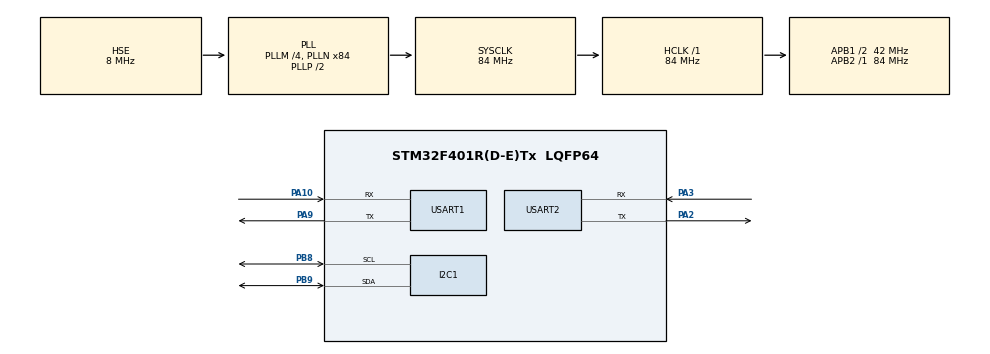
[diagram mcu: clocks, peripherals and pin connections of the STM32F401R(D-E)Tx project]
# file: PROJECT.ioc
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Mcu.Family=STM32F4
Mcu.Name=STM32F401R(D-E)Tx
Mcu.Package=LQFP64
NVIC.PriorityGroup=NVIC_PRIORITYGROUP_4
PA10.Mode=Asynchronous
PA10.Signal=USART1_RX
PA13.Mode=Serial_Wire
PA13.Signal=SYS_JTMS-SWDIO
PA14.Mode=Serial_Wire
PA14.Signal=SYS_JTCK-SWCLK
PA2.Mode=Asynchronous
PA2.Signal=USART2_TX
PA3.Mode=Asynchronous
PA3.Signal=USART2_RX
PA9.Mode=Asynchronous
PA9.Signal=USART1_TX
PB8.Mode=I2C
PB8.Signal=I2C1_SCL
PB9.Mode=I2C
PB9.Signal=I2C1_SDA
PH0\ -\ OSC_IN.Mode=HSE-External-Clock-Source
PH0\ -\ OSC_IN.Signal=RCC_OSC_IN
PH1\ -\ OSC_OUT.Mode=HSE-External-Clock-Source
PH1\ -\ OSC_OUT.Signal=RCC_OSC_OUT
ProjectManager.HeapSize=0x200
ProjectManager.StackSize=0x400
ProjectManager.TargetToolchain=MDK-ARM V5.32
RCC.48MHZClocksFreq_Value=42000000
RCC.AHBFreq_Value=84000000
RCC.APB1CLKDivider=RCC_HCLK_DIV2
RCC.APB1Freq_Value=42000000
RCC.APB1TimFreq_Value=84000000
RCC.APB2Freq_Value=84000000
RCC.APB2TimFreq_Value=84000000
RCC.CortexFreq_Value=84000000
RCC.HCLKFreq_Value=84000000
RCC.HSE_VALUE=8000000
RCC.HSI_VALUE=16000000
RCC.LSE_VALUE=32768
RCC.PLLM=4
RCC.PLLN=84
RCC.PLLSourceVirtual=RCC_PLLSOURCE_HSE
RCC.SYSCLKFreq_VALUE=84000000
RCC.SYSCLKSource=RCC_SYSCLKSOURCE_PLLCLK
RCC.VCOOutputFreq_Value=168000000
USART1.VirtualMode=VM_ASYNC
USART2.VirtualMode=VM_ASYNC
board=custom

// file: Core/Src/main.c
/* USER CODE BEGIN Header */
/**
  ******************************************************************************
  * @file           : main.c
  * @brief          : BME280 Sensor + USART1 Wemos + USART2 Debug
  ******************************************************************************
  */
/* USER CODE END Header */

#include "main.h"

/* USER CODE BEGIN Includes */
#include "bme280.h"
#include <stdio.h>
#include <string.h>
/* USER CODE END Includes */

I2C_HandleTypeDef hi2c1;
UART_HandleTypeDef huart1;
UART_HandleTypeDef huart2;

/* USER CODE BEGIN PV */

struct bme280_dev bme;
struct bme280_settings bme_settings;
struct bme280_data comp_data;

static uint8_t bme_i2c_addr = BME280_I2C_ADDR_PRIM;

int8_t bme_status;

double temperature;
double pressure;
double humidity;

char uart_buffer[150];

/* USER CODE END PV */

void SystemClock_Config(void);
static void MX_GPIO_Init(void);
static void MX_I2C1_Init(void);
static void MX_USART1_UART_Init(void);
static void MX_USART2_UART_Init(void);

/* USER CODE BEGIN PFP */

int8_t user_i2c_read(uint8_t reg_addr,
                     uint8_t *reg_data,
                     uint32_t len,
                     void *intf_ptr);

int8_t user_i2c_write(uint8_t reg_addr,
                      const uint8_t *reg_data,
                      uint32_t len,
                      void *intf_ptr);

void user_delay_us(uint32_t period, void *intf_ptr);

/* USER CODE END PFP */

/* USER CODE BEGIN 0 */

int8_t user_i2c_read(uint8_t reg_addr,
                     uint8_t *reg_data,
                     uint32_t len,
                     void *intf_ptr)
{
    uint8_t dev_addr = *(uint8_t *)intf_ptr;

    if (HAL_I2C_Mem_Read(&hi2c1,
                         (uint16_t)(dev_addr << 1),
                         reg_addr,
                         I2C_MEMADD_SIZE_8BIT,
                         reg_data,
                         (uint16_t)len,
                         HAL_MAX_DELAY) == HAL_OK)
    {
        return BME280_OK;
    }

    return BME280_E_COMM_FAIL;
}

int8_t user_i2c_write(uint8_t reg_addr,
                      const uint8_t *reg_data,
                      uint32_t len,
                      void *intf_ptr)
{
    uint8_t dev_addr = *(uint8_t *)intf_ptr;

    if (HAL_I2C_Mem_Write(&hi2c1,
                          (uint16_t)(dev_addr << 1),
                          reg_addr,
                          I2C_MEMADD_SIZE_8BIT,
                          (uint8_t *)reg_data,
                          (uint16_t)len,
                          HAL_MAX_DELAY) == HAL_OK)
    {
        return BME280_OK;
    }

    return BME280_E_COMM_FAIL;
}

void user_delay_us(uint32_t period, void *intf_ptr)
{
    HAL_Delay((period + 999U) / 1000U);
}

/* Send the same message to both serial ports */
void send_uart_message(char *message, uint16_t length)
{
    HAL_UART_Transmit(&huart2,
                      (uint8_t *)message,
                      length,
                      HAL_MAX_DELAY);

    HAL_UART_Transmit(&huart1,
                      (uint8_t *)message,
                      length,
                      HAL_MAX_DELAY);
}

/* USER CODE END 0 */

int main(void)
{
    HAL_Init();

    SystemClock_Config();

    /* Initialize all configured peripherals */
    MX_GPIO_Init();
    MX_I2C1_Init();
    MX_USART1_UART_Init();
    MX_USART2_UART_Init();

    /* USER CODE BEGIN 2 */

    /* Configure BME280 I2C communication */
    bme.intf_ptr = &bme_i2c_addr;
    bme.intf = BME280_I2C_INTF;
    bme.read = user_i2c_read;
    bme.write = user_i2c_write;
    bme.delay_us = user_delay_us;

    /* Initialize BME280 sensor */
    bme_status = bme280_init(&bme);

    if (bme_status != BME280_OK)
    {
        int len = snprintf(uart_buffer,
                           sizeof(uart_buffer),
                           "BME280 initialization failed: %d\r\n",
                           (int)bme_status);

        send_uart_message(uart_buffer, (uint16_t)len);

        while (1)
        {
        }
    }

    /* Configure sensor oversampling settings */
    bme_settings.osr_h = BME280_OVERSAMPLING_1X;
    bme_settings.osr_p = BME280_OVERSAMPLING_1X;
    bme_settings.osr_t = BME280_OVERSAMPLING_1X;

    bme_settings.filter = BME280_FILTER_COEFF_OFF;
    bme_settings.standby_time = BME280_STANDBY_TIME_1000_MS;

    bme_status = bme280_set_sensor_settings(
                    BME280_SEL_OSR_PRESS |
                    BME280_SEL_OSR_TEMP |
                    BME280_SEL_OSR_HUM |
                    BME280_SEL_FILTER,
                    &bme_settings,
                    &bme);

    if (bme_status != BME280_OK)
    {
        int len = snprintf(uart_buffer,
                           sizeof(uart_buffer),
                           "BME280 settings failed: %d\r\n",
                           (int)bme_status);

        send_uart_message(uart_buffer, (uint16_t)len);

        while (1)
        {
        }
    }

    /* Set BME280 to normal operating mode */
    bme_status = bme280_set_sensor_mode(
                    BME280_POWERMODE_NORMAL,
                    &bme);

    if (bme_status != BME280_OK)
    {
        int len = snprintf(uart_buffer,
                           sizeof(uart_buffer),
                           "BME280 mode setting failed: %d\r\n",
                           (int)bme_status);

        send_uart_message(uart_buffer, (uint16_t)len);

        while (1)
        {
        }
    }

    send_uart_message("BME280 initialized successfully\r\n", 34);

    /* USER CODE END 2 */

    /* Infinite loop */
    while (1)
    {
        /* Read temperature, pressure and humidity */
        bme_status = bme280_get_sensor_data(
                        BME280_ALL,
                        &comp_data,
                        &bme);

        if (bme_status == BME280_OK)
        {
            temperature = comp_data.temperature;
            pressure = comp_data.pressure;
            humidity = comp_data.humidity;

            /* Convert values for UART output */
            int32_t temp_x100 =
                (int32_t)(temperature * 100.0);

            int32_t temp_abs =
                (temp_x100 < 0) ? -temp_x100 : temp_x100;

            int32_t pressure_x100 =
                (int32_t)(pressure + 0.5);

            int32_t humidity_x100 =
                (int32_t)(humidity * 100.0 + 0.5);

            int len = snprintf(
                uart_buffer,
                sizeof(uart_buffer),
                "Temperature: %s%ld.%02ld C | Pressure: %ld.%02ld hPa | Humidity: %ld.%02ld %%\r\n",
                (temp_x100 < 0) ? "-" : "",
                (long)(temp_abs / 100),
                (long)(temp_abs % 100),
                (long)(pressure_x100 / 100),
                (long)(pressure_x100 % 100),
                (long)(humidity_x100 / 100),
                (long)(humidity_x100 % 100)
            );

            /* Send sensor readings to PuTTY and Wemos */
            send_uart_message(uart_buffer, (uint16_t)len);
        }
        else
        {
            send_uart_message("BME280 data read failed\r\n", 25);
        }

        HAL_Delay(1000);
    }
}

void SystemClock_Config(void)
{
    RCC_OscInitTypeDef RCC_OscInitStruct = {0};
    RCC_ClkInitTypeDef RCC_ClkInitStruct = {0};

    __HAL_RCC_PWR_CLK_ENABLE();
    __HAL_PWR_VOLTAGESCALING_CONFIG(PWR_REGULATOR_VOLTAGE_SCALE2);

    RCC_OscInitStruct.OscillatorType = RCC_OSCILLATORTYPE_HSE;
    RCC_OscInitStruct.HSEState = RCC_HSE_BYPASS;
    RCC_OscInitStruct.PLL.PLLState = RCC_PLL_ON;
    RCC_OscInitStruct.PLL.PLLSource = RCC_PLLSOURCE_HSE;
    RCC_OscInitStruct.PLL.PLLM = 4;
    RCC_OscInitStruct.PLL.PLLN = 84;
    RCC_OscInitStruct.PLL.PLLP = RCC_PLLP_DIV2;
    RCC_OscInitStruct.PLL.PLLQ = 4;

    if (HAL_RCC_OscConfig(&RCC_OscInitStruct) != HAL_OK)
    {
        Error_Handler();
    }

    RCC_ClkInitStruct.ClockType = RCC_CLOCKTYPE_HCLK |
                                  RCC_CLOCKTYPE_SYSCLK |
                                  RCC_CLOCKTYPE_PCLK1 |
                                  RCC_CLOCKTYPE_PCLK2;

    RCC_ClkInitStruct.SYSCLKSource = RCC_SYSCLKSOURCE_PLLCLK;
    RCC_ClkInitStruct.AHBCLKDivider = RCC_SYSCLK_DIV1;
    RCC_ClkInitStruct.APB1CLKDivider = RCC_HCLK_DIV2;
    RCC_ClkInitStruct.APB2CLKDivider = RCC_HCLK_DIV1;

    if (HAL_RCC_ClockConfig(&RCC_ClkInitStruct,
                            FLASH_LATENCY_2) != HAL_OK)
    {
        Error_Handler();
    }
}

static void MX_I2C1_Init(void)
{
    hi2c1.Instance = I2C1;
    hi2c1.Init.ClockSpeed = 100000;
    hi2c1.Init.DutyCycle = I2C_DUTYCYCLE_2;
    hi2c1.Init.OwnAddress1 = 0;
    hi2c1.Init.AddressingMode = I2C_ADDRESSINGMODE_7BIT;
    hi2c1.Init.DualAddressMode = I2C_DUALADDRESS_DISABLE;
    hi2c1.Init.OwnAddress2 = 0;
    hi2c1.Init.GeneralCallMode = I2C_GENERALCALL_DISABLE;
    hi2c1.Init.NoStretchMode = I2C_NOSTRETCH_DISABLE;

    if (HAL_I2C_Init(&hi2c1) != HAL_OK)
    {
        Error_Handler();
    }
}

static void MX_USART1_UART_Init(void)
{
    huart1.Instance = USART1;
    huart1.Init.BaudRate = 115200;
    huart1.Init.WordLength = UART_WORDLENGTH_8B;
    huart1.Init.StopBits = UART_STOPBITS_1;
    huart1.Init.Parity = UART_PARITY_NONE;
    huart1.Init.Mode = UART_MODE_TX_RX;
    huart1.Init.HwFlowCtl = UART_HWCONTROL_NONE;
    huart1.Init.OverSampling = UART_OVERSAMPLING_16;

    if (HAL_UART_Init(&huart1) != HAL_OK)
    {
        Error_Handler();
    }
}

static void MX_USART2_UART_Init(void)
{
    huart2.Instance = USART2;
    huart2.Init.BaudRate = 115200;
    huart2.Init.WordLength = UART_WORDLENGTH_8B;
    huart2.Init.StopBits = UART_STOPBITS_1;
    huart2.Init.Parity = UART_PARITY_NONE;
    huart2.Init.Mode = UART_MODE_TX_RX;
    huart2.Init.HwFlowCtl = UART_HWCONTROL_NONE;
    huart2.Init.OverSampling = UART_OVERSAMPLING_16;

    if (HAL_UART_Init(&huart2) != HAL_OK)
    {
        Error_Handler();
    }
}

static void MX_GPIO_Init(void)
{
    __HAL_RCC_GPIOH_CLK_ENABLE();
    __HAL_RCC_GPIOA_CLK_ENABLE();
    __HAL_RCC_GPIOB_CLK_ENABLE();
}

/**
  * @brief Error Handler
  */
void Error_Handler(void)
{
    __disable_irq();

    while (1)
    {
    }
}
